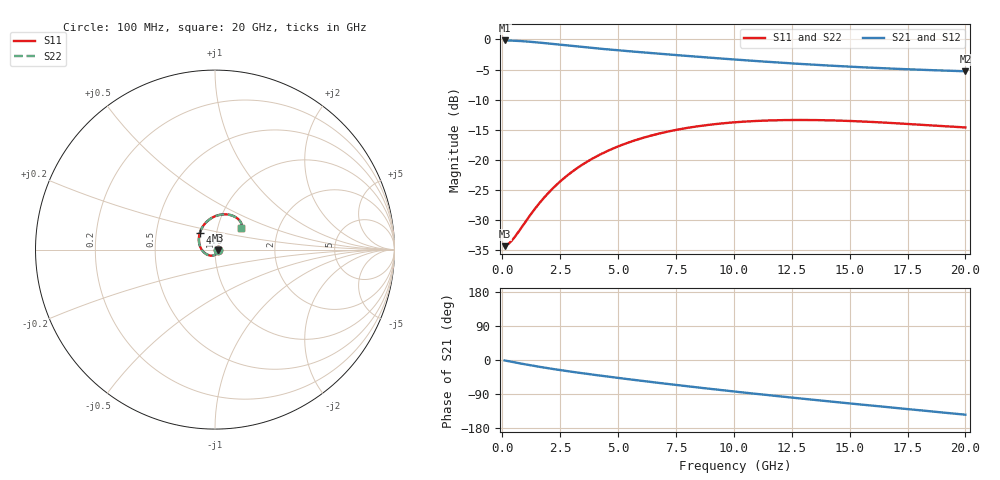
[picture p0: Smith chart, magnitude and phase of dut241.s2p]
! Created with skrf 1.9.0 (http://scikit-rf.org).
# GHz S RI R 50.0
!freq ReS11 ImS11 ReS21 ImS21 ReS12 ImS12 ReS22 ImS22
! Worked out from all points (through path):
!   200 points, 100 MHz to 20 GHz, reference 50 ohm
!   highest |S21| = -0.17 dB at 100 MHz (marker M1); lowest = -5.3 dB at 20 GHz (marker M2)
!   group delay of S21, straight-line fit = 19.2 ps
!   lowest |S11| = -34.4 dB at 100 MHz (marker M3), VSWR 1.04, Z = 51.9 - j0.433 ohm
!   |S11| at or under -10 dB: start of sweep to end of sweep
!   |S22| runs from -34.4 to -13.4 dB; largest |S21 - S12| = 1.8e-15
!   S11 on the Smith chart (normalised r, x): 100 MHz: 1.04, -0.01; 4.9 GHz: 0.83, +0.16; 20 GHz: 1.29, +0.32
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0.1  0.0187 -0.00417  0.9807 -0.0199  0.9807 -0.0199  0.0187 -0.00417
0.3  0.0168 -0.0113  0.9775 -0.0605  0.9775 -0.0605  0.0168 -0.0113
0.5  0.0131 -0.0181  0.9712 -0.1  0.9712 -0.1  0.0131 -0.0181
0.9  0.00104 -0.0286  0.9506 -0.1752  0.9506 -0.1752  0.00104 -0.0286
1.4  -0.0197 -0.0335  0.9132 -0.2595  0.9132 -0.2595  -0.0197 -0.0335
2  -0.0461 -0.0265  0.8581 -0.345  0.8581 -0.345  -0.0461 -0.0265
2.3  -0.0579 -0.0185  0.8284 -0.3819  0.8284 -0.3819  -0.0579 -0.0185
2.7  -0.0711 -0.00448  0.7878 -0.4258  0.7878 -0.4258  -0.0711 -0.00448
3.5  -0.0869 0.0305  0.7055 -0.4987  0.7055 -0.4987  -0.0869 0.0305
4.2  -0.0897 0.0635  0.6336 -0.5499  0.6336 -0.5499  -0.0897 0.0635
4.9  -0.0838 0.095  0.5621 -0.5915  0.5621 -0.5915  -0.0838 0.095
5.8  -0.067 0.1303  0.471 -0.6325  0.471 -0.6325  -0.067 0.1303
6.8  -0.0403 0.1606  0.3718 -0.6634  0.3718 -0.6634  -0.0403 0.1606
7.6  -0.0159 0.1778  0.2948 -0.6779  0.2948 -0.6779  -0.0159 0.1778
8.4  0.0093 0.189  0.2206 -0.6844  0.2206 -0.6844  0.0093 0.189
10.1  0.0596 0.1964  0.0746 -0.6755  0.0746 -0.6755  0.0596 0.1964
11.7  0.0979 0.1888  -0.0464 -0.6454  -0.0464 -0.6454  0.0979 0.1888
13.4  0.1264 0.1725  -0.1576 -0.597  -0.1576 -0.597  0.1264 0.1725
15  0.1421 0.1548  -0.247 -0.5403  -0.247 -0.5403  0.1421 0.1548
16.7  0.1489 0.1375  -0.327 -0.4711  -0.327 -0.4711  0.1489 0.1375
18.3  0.1482 0.1254  -0.3894 -0.3993  -0.3894 -0.3993  0.1482 0.1254
20  0.143 0.1183  -0.4421 -0.3169  -0.4421 -0.3169  0.143 0.1183
